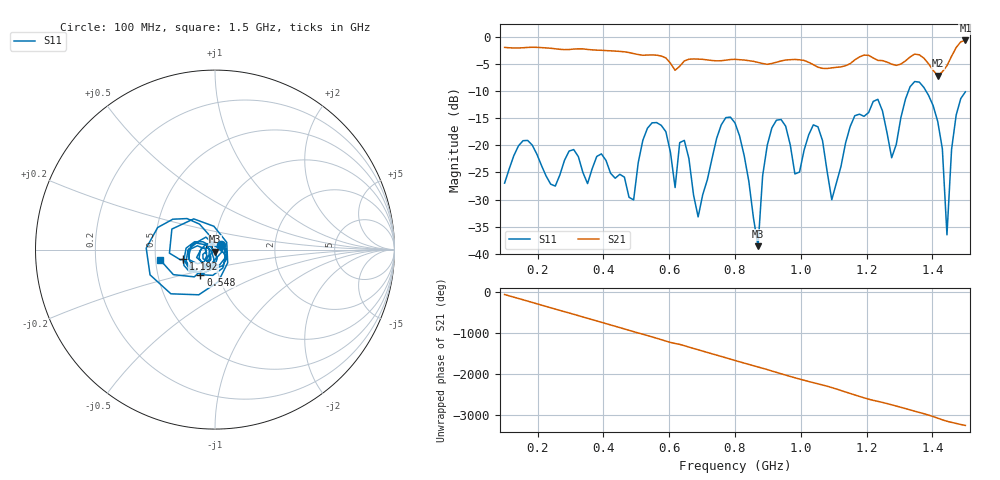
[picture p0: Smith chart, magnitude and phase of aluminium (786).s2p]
! NanoVNA-App
! Date: 2025-09-25 15:01:24
! Start: 100MHz Stop: 1,5GHz Points: 101
! S-Parameter data: F S11 S21 S12 S22
# Hz S RI R 50
!  Frequency  S11_Real  S11_Imag  S21_Real  S21_Imag  S12_Real  S12_Imag  S22_Real  S22_Imag
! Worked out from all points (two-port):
!   101 points, 100 MHz to 1.5 GHz, reference 50 ohm
!   highest |S21| = -0.64 dB at 1.5 GHz (marker M1); lowest = -7.2 dB at 1.416 GHz (marker M2)
!   |S21| within 3 dB of the highest: start of sweep to 581 MHz; 1.457 GHz to end of sweep (the widest 2 of 4)
!   lowest |S11| = -38.6 dB at 870 MHz (marker M3), VSWR 1.02, Z = 50.1 - j1.17 ohm
!   |S11| at or under -10 dB: start of sweep to 1.327 GHz; 1.381 GHz to end of sweep
!   S12 and S22 are empty: the file has one direction only
!   S11 on the Smith chart (normalised r, x): 100 MHz: 1.07, +0.06; 548 MHz: 0.82, -0.24; 1.192 GHz: 0.70, -0.08; 1.5 GHz: 0.53, -0.07
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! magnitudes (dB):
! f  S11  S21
! 100 MHz  -27.0  -1.9
! 156 MHz  -19.1  -2.0
! 338 MHz  -25.0  -2.2
! 492 MHz  -30.1  -3.1
! 548 MHz  -15.8  -3.3
! 576 MHz  -16.3  -3.5
! 618 MHz  -27.8  -6.1
! 646 MHz  -19.1  -4.4
! 688 MHz  -33.2  -4.1
! 800 MHz  -15.9  -4.1
! 870 MHz  -38.6  -4.7
! 912 MHz  -16.8  -4.9
! 982 MHz  -25.3  -4.1
! 1.038 GHz  -16.2  -5.1
! 1.094 GHz  -30.0  -5.7
! 1.192 GHz  -14.6  -3.3
! 1.276 GHz  -22.3  -5.0
! 1.346 GHz  -8.2  -3.2
! 1.416 GHz  -15.6  -7.2
! 1.444 GHz  -36.5  -5.3
! 1.458 GHz  -20.7  -3.6
! 1.5 GHz  -10.1  -0.6
